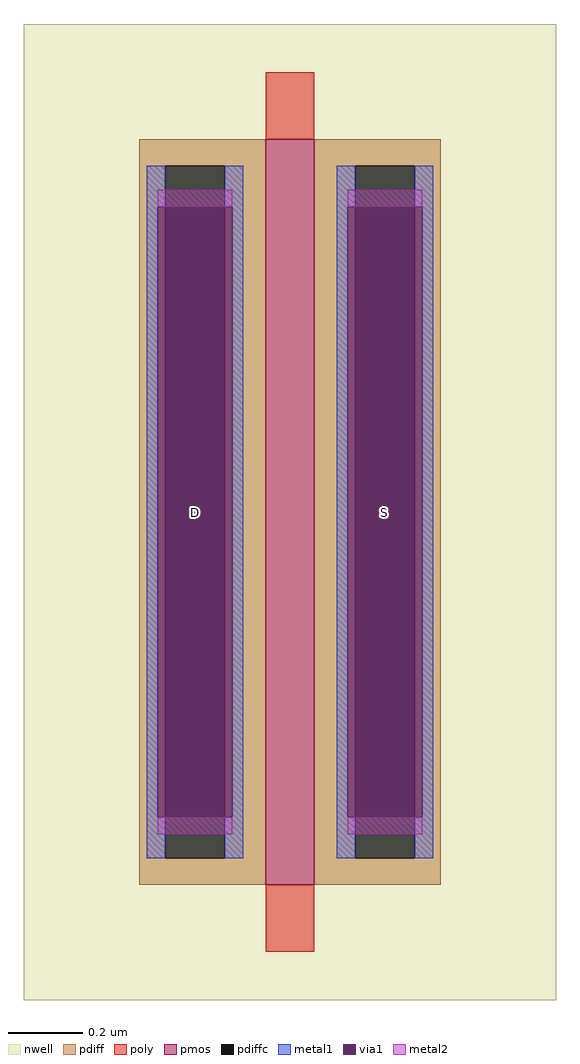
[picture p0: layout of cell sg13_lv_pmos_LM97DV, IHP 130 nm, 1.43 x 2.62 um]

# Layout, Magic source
magic
tech ihp-sg13g2
magscale 1 2
<< nwell >>
rect -143 -262 143 262
<< pmos >>
rect -13 -200 13 200
<< pdiff >>
rect -81 186 -13 200
rect -81 -186 -67 186
rect -35 -186 -13 186
rect -81 -200 -13 -186
rect 13 186 81 200
rect 13 -186 35 186
rect 67 -186 81 186
rect 13 -200 81 -186
<< pdiffc >>
rect -67 -186 -35 186
rect 35 -186 67 186
<< poly >>
rect -13 200 13 236
rect -13 -236 13 -200
<< metal1 >>
rect -77 164 -67 186
rect -35 164 -25 186
rect -77 -164 -71 164
rect -31 -164 -25 164
rect -77 -186 -67 -164
rect -35 -186 -25 -164
rect 25 164 35 186
rect 67 164 77 186
rect 25 -164 31 164
rect 71 -164 77 164
rect 25 -186 35 -164
rect 67 -186 77 -164
<< via1 >>
rect -71 -164 -67 164
rect -67 -164 -35 164
rect -35 -164 -31 164
rect 31 -164 35 164
rect 35 -164 67 164
rect 67 -164 71 164
<< metal2 >>
rect -71 164 -31 173
rect -71 -173 -31 -164
rect 31 164 71 173
rect 31 -173 71 -164
<< labels >>
rlabel pdiffc -51 0 -51 0 0 D
port 1 nsew
rlabel pdiffc 51 0 51 0 0 S
port 2 nsew
<< properties >>
string gencell sg13_lv_pmos
string library sg13g2
string parameters w 2 l 0.13 m 1 nf 1 diffcov 100 polycov 100 guard 0 glc 0 grc 1 gtc 1 gbc 0 tbcov 100 rlcov 100 topc 0 botc 0 poverlap 0 doverlap 1 lmin 0.13 wmin 0.15 class mosfet compatible {sg13_lv_pmos sg13_hv_pmos} full_metal 0 conn_gates 0 gate_ring 0 ccols 1 viasrc 100 viadrn 100 viagate 100 viagb 0 viagr 0 viagl 0 viagt 0 doports 1
<< end >>
